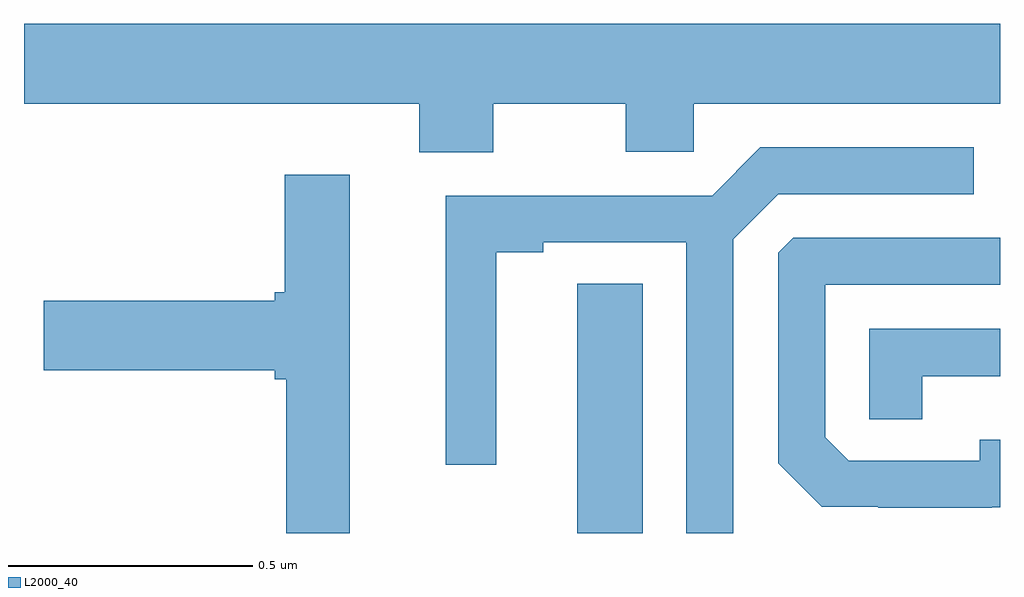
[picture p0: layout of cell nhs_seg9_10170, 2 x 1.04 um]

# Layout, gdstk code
import gdstk
lib = gdstk.Library(unit=1e-6, precision=1e-09)
def R(c, l, rs):  # rectangles x0, y0, x1, y1
    for r in rs: c.add(gdstk.rectangle(r[:2], r[2:], *l))
def P(c, l, *ps):  # polygons
    for p in ps: c.add(gdstk.Polygon(p, *l))
L2000_40 = (2000, 40)

nhs_seg9_10170 = lib.new_cell('nhs_seg9_10170')
R(nhs_seg9_10170, L2000_40, [(240.134,1235.5,240.268,1236.011)])
P(nhs_seg9_10170, L2000_40, [(239.962,1236.38),(240.233,1236.38),(240.233,1236.282),(240.372,1236.282),(240.372,1236.38),(241,1236.38),(241,1236.544),(239,1236.544),(239,1236.38),(239.81,1236.38),(239.81,1236.281),(239.962,1236.281)],
  [(240.453,1236.102),(240.546,1236.195),(240.946,1236.195),(240.946,1236.291),(240.509,1236.291),(240.41,1236.192),(239.864,1236.192),(239.864,1235.64),(239.968,1235.64),(239.968,1236.076),(240.064,1236.076),(240.064,1236.096),(240.357,1236.096),(240.357,1235.5),(240.453,1235.5)],
  [(239.668,1236.235),(239.534,1236.235),(239.534,1235.994),(239.514,1235.994),(239.514,1235.976),(239.04,1235.976),(239.04,1235.834),(239.514,1235.834),(239.514,1235.816),(239.537,1235.816),(239.537,1235.5),(239.668,1235.5)],
  [(240.983,1235.553),(241,1235.553),(241,1235.692),(240.959,1235.692),(240.959,1235.649),(240.69,1235.649),(240.642,1235.697),(240.642,1236.009),(241,1236.009),(241,1236.105),(240.576,1236.105),(240.546,1236.075),(240.546,1235.643),(240.635,1235.554),(240.751,1235.554),(240.751,1235.552),(240.983,1235.552)],
  [(240.841,1235.822),(241,1235.822),(241,1235.919),(240.732,1235.919),(240.732,1235.734),(240.841,1235.734)])

lib.write_gds('nhs_seg9_10170.gds')
